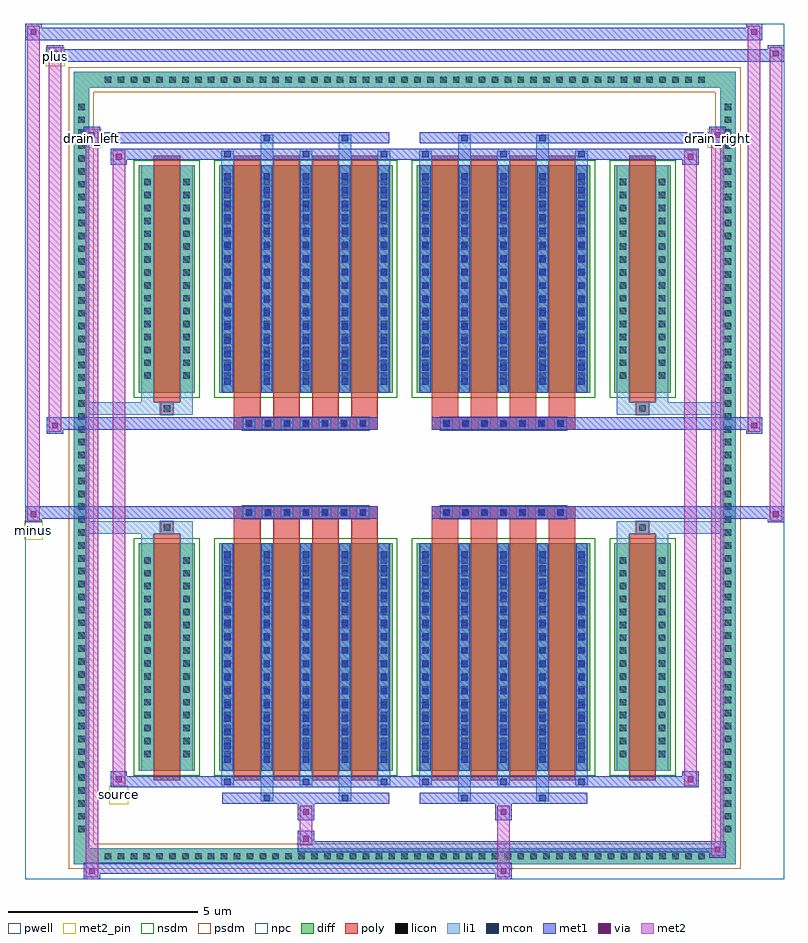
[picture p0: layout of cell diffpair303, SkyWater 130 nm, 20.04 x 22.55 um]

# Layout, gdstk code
import gdstk
lib = gdstk.Library(unit=1e-6, precision=5e-09)
def R(c, l, rs):  # rectangles x0, y0, x1, y1
    for r in rs: c.add(gdstk.rectangle(r[:2], r[2:], *l))
def A(c, l, x, y, w, h, nx, ny, dx, dy):  # array of equal rectangles
    R(c, l, [(x+i*dx, y+j*dy, x+i*dx+w, y+j*dy+h) for i in range(nx) for j in range(ny)])
def P(c, l, *ps):  # polygons
    for p in ps: c.add(gdstk.Polygon(p, *l))
pwell = (64, 44)
diff = (65, 20)
poly = (66, 20)
licon = (66, 44)
li1 = (67, 20)
mcon = (67, 44)
met1 = (68, 20)
via = (68, 44)
met2_pin = (69, 16)
met2 = (69, 20)
nsdm = (93, 44)
psdm = (94, 20)
npc = (95, 20)

diffpair303 = lib.new_cell('diffpair303')
R(diffpair303, pwell, [(-10,-10.84,10,11.71), (-7.32,-9.03,-0.01,-0.805), (0.01,-9.03,7.32,-0.805), (-7.32,0.805,-0.01,9.03), (0.01,0.805,7.32,9.03)])
A(diffpair303, diff, -8.025, -10.44, 0.41, 0.41, 47, 2, 0.34, 20.47)
A(diffpair303, diff, -8.73, -9.725, 0.41, 0.41, 1, 57, 0, 0.34)
A(diffpair303, diff, 8.32, -9.725, 0.41, 0.41, 1, 57, 0, 0.34)
R(diffpair303, diff, [(-8.025,-10.44,8.025,-10.03), (-8.73,-9.725,-8.32,9.725), (8.32,-9.725,8.73,9.725), (-7.01,-7.985,-5.53,-1.985), (-4.89,-7.985,-0.32,-1.985), (0.32,-7.985,4.89,-1.985), (5.53,-7.985,7.01,-1.985), (-7.01,1.985,-5.53,7.985), (-4.89,1.985,-0.32,7.985), (0.32,1.985,4.89,7.985), (5.53,1.985,7.01,7.985), (-8.025,10.03,8.025,10.44)])
P(diffpair303, diff, [(8.73,10.44),(-8.73,10.44),(-8.73,-10.03),(-8.32,-10.03),(-8.32,10.03),(8.32,10.03),(8.32,-10.03),(-8.32,-10.03),(-8.73,-10.03),(-8.73,-10.44),(8.73,-10.44)])
A(diffpair303, poly, -4.5, -8.235, 0.7, 6.5, 4, 2, 1.03, 9.97)
A(diffpair303, poly, 0.71, -8.235, 0.7, 6.5, 4, 2, 1.03, 9.97)
A(diffpair303, poly, -4.5, -1.735, 0.7, 0.4, 4, 2, 1.03, 3.07)
A(diffpair303, poly, 0.71, -1.735, 0.7, 0.4, 4, 2, 1.03, 3.07)
A(diffpair303, poly, -4.27, -1.335, 0.33, 0.33, 7, 2, 0.5, 2.34)
A(diffpair303, poly, 0.94, -1.335, 0.33, 0.33, 7, 2, 0.5, 2.34)
R(diffpair303, poly, [(-6.62,-8.235,-5.92,-1.735), (5.92,-8.235,6.62,-1.735), (-6.435,-1.735,-6.105,-1.405), (-6.435,-1.735,-6.105,-1.405), (6.105,-1.735,6.435,-1.405), (6.105,-1.735,6.435,-1.405), (-4.5,-1.335,-0.71,-1.005), (0.71,-1.335,4.5,-1.005), (-4.5,1.005,-0.71,1.335), (0.71,1.005,4.5,1.335), (-6.435,1.405,-6.105,1.735), (-6.435,1.405,-6.105,1.735), (6.105,1.405,6.435,1.735), (6.105,1.405,6.435,1.735), (-6.62,1.735,-5.92,8.235), (5.92,1.735,6.62,8.235)])
A(diffpair303, licon, -7.905, -10.32, 0.17, 0.17, 47, 2, 0.34, 20.47)
A(diffpair303, licon, -8.61, -9.605, 0.17, 0.17, 1, 57, 0, 0.34)
A(diffpair303, licon, 8.44, -9.605, 0.17, 0.17, 1, 57, 0, 0.34)
A(diffpair303, licon, -6.87, -7.62, 0.17, 0.17, 1, 16, 0, 0.34)
A(diffpair303, licon, -5.84, -7.62, 0.17, 0.17, 1, 16, 0, 0.34)
A(diffpair303, licon, -4.75, -7.62, 0.17, 0.17, 5, 16, 1.03, 0.34)
A(diffpair303, licon, 0.46, -7.62, 0.17, 0.17, 5, 16, 1.03, 0.34)
A(diffpair303, licon, 5.67, -7.62, 0.17, 0.17, 1, 16, 0, 0.34)
A(diffpair303, licon, 6.7, -7.62, 0.17, 0.17, 1, 16, 0, 0.34)
A(diffpair303, licon, -4.19, -1.255, 0.17, 0.17, 7, 2, 0.5, 2.34)
A(diffpair303, licon, 1.02, -1.255, 0.17, 0.17, 7, 2, 0.5, 2.34)
A(diffpair303, licon, -6.87, 2.35, 0.17, 0.17, 1, 16, 0, 0.34)
A(diffpair303, licon, -5.84, 2.35, 0.17, 0.17, 1, 16, 0, 0.34)
A(diffpair303, licon, -4.75, 2.35, 0.17, 0.17, 5, 16, 1.03, 0.34)
A(diffpair303, licon, 0.46, 2.35, 0.17, 0.17, 5, 16, 1.03, 0.34)
A(diffpair303, licon, 5.67, 2.35, 0.17, 0.17, 1, 16, 0, 0.34)
A(diffpair303, licon, 6.7, 2.35, 0.17, 0.17, 1, 16, 0, 0.34)
R(diffpair303, licon, [(-6.355,-1.655,-6.185,-1.485), (6.185,-1.655,6.355,-1.485), (-6.355,1.485,-6.185,1.655), (6.185,1.485,6.355,1.655)])
A(diffpair303, li1, -7.985, -10.4, 0.33, 0.33, 47, 2, 0.34, 20.47)
A(diffpair303, li1, -8.69, -9.685, 0.33, 0.33, 1, 57, 0, 0.34)
A(diffpair303, li1, 8.36, -9.685, 0.33, 0.33, 1, 57, 0, 0.34)
A(diffpair303, li1, -4.83, -8.36, 0.33, 0.375, 3, 2, 2.06, 16.345)
A(diffpair303, li1, -4.75, -8.36, 0.17, 0.17, 3, 2, 2.06, 16.55)
A(diffpair303, li1, 0.38, -8.36, 0.33, 0.375, 3, 2, 2.06, 16.345)
A(diffpair303, li1, 0.46, -8.36, 0.17, 0.17, 3, 2, 2.06, 16.55)
A(diffpair303, li1, -4.83, -7.985, 0.33, 6, 5, 2, 1.03, 9.97)
A(diffpair303, li1, 0.38, -7.985, 0.33, 6, 5, 2, 1.03, 9.97)
A(diffpair303, li1, -4.75, -7.77, 0.17, 0.17, 5, 16, 1.03, 0.36)
A(diffpair303, li1, -4.75, -7.77, 0.17, 5.57, 5, 2, 1.03, 9.97)
A(diffpair303, li1, 0.46, -7.77, 0.17, 0.17, 5, 16, 1.03, 0.36)
A(diffpair303, li1, 0.46, -7.77, 0.17, 5.57, 5, 2, 1.03, 9.97)
A(diffpair303, li1, -6.95, -7.7, 0.33, 0.33, 1, 16, 0, 0.34)
A(diffpair303, li1, -5.92, -7.7, 0.33, 0.33, 1, 16, 0, 0.34)
A(diffpair303, li1, -4.83, -7.7, 0.33, 0.33, 5, 16, 1.03, 0.34)
A(diffpair303, li1, 0.38, -7.7, 0.33, 0.33, 5, 16, 1.03, 0.34)
A(diffpair303, li1, 5.59, -7.7, 0.33, 0.33, 1, 16, 0, 0.34)
A(diffpair303, li1, 6.62, -7.7, 0.33, 0.33, 1, 16, 0, 0.34)
A(diffpair303, li1, -4.27, -1.335, 0.33, 0.33, 7, 2, 0.5, 2.34)
A(diffpair303, li1, 0.94, -1.335, 0.33, 0.33, 7, 2, 0.5, 2.34)
A(diffpair303, li1, -4.75, 2.2, 0.17, 0.17, 5, 16, 1.03, 0.36)
A(diffpair303, li1, 0.46, 2.2, 0.17, 0.17, 5, 16, 1.03, 0.36)
A(diffpair303, li1, -6.95, 2.27, 0.33, 0.33, 1, 16, 0, 0.34)
A(diffpair303, li1, -5.92, 2.27, 0.33, 0.33, 1, 16, 0, 0.34)
A(diffpair303, li1, -4.83, 2.27, 0.33, 0.33, 5, 16, 1.03, 0.34)
A(diffpair303, li1, 0.38, 2.27, 0.33, 0.33, 5, 16, 1.03, 0.34)
A(diffpair303, li1, 5.59, 2.27, 0.33, 0.33, 1, 16, 0, 0.34)
A(diffpair303, li1, 6.62, 2.27, 0.33, 0.33, 1, 16, 0, 0.34)
R(diffpair303, li1, [(-8.73,-10.44,-8.32,-10.03), (-8.73,-10.44,-8.32,-10.03), (-8.32,-10.44,8.32,-10.03), (8.32,-10.44,8.73,-10.03), (8.32,-10.44,8.73,-10.03), (-8.73,-10.03,-8.32,10.03), (8.32,-10.03,8.73,10.03), (-3.8,-8.79,-3.47,-7.985), (-3.72,-8.79,-3.55,-8.62), (-1.74,-8.79,-1.41,-7.985), (-1.66,-8.79,-1.49,-8.62), (1.41,-8.79,1.74,-7.985), (1.49,-8.79,1.66,-8.62), (3.47,-8.79,3.8,-7.985), (3.55,-8.79,3.72,-8.62), (-6.95,-7.985,-6.62,-1.985), (-5.92,-7.985,-5.59,-1.985), (5.59,-7.985,5.92,-1.985), (6.62,-7.985,6.95,-1.985), (-6.95,-1.985,-6.62,-1.405), (-5.92,-1.985,-5.59,-1.405), (5.59,-1.985,5.92,-1.405), (6.62,-1.985,6.95,-1.405), (-8.73,-1.735,-6.435,-1.405), (-6.95,-1.735,-6.435,-1.405), (-6.435,-1.735,-6.105,-1.405), (-6.105,-1.735,-5.59,-1.405), (5.59,-1.735,6.105,-1.405), (6.105,-1.735,6.435,-1.405), (6.105,-1.735,8.73,-1.405), (6.435,-1.735,6.95,-1.405), (-8.73,1.405,-6.435,1.735), (-6.95,1.405,-6.435,1.735), (-6.95,1.405,-6.62,1.985), (-6.435,1.405,-6.105,1.735), (-6.105,1.405,-5.59,1.735), (-5.92,1.405,-5.59,1.985), (5.59,1.405,6.105,1.735), (5.59,1.405,5.92,1.985), (6.105,1.405,6.435,1.735), (6.105,1.405,8.73,1.735), (6.435,1.405,6.95,1.735), (6.62,1.405,6.95,1.985), (-6.95,1.985,-6.62,7.985), (-5.92,1.985,-5.59,7.985), (5.59,1.985,5.92,7.985), (6.62,1.985,6.95,7.985), (-3.8,7.985,-3.47,8.79), (-1.74,7.985,-1.41,8.79), (1.41,7.985,1.74,8.79), (3.47,7.985,3.8,8.79), (-3.72,8.62,-3.55,8.79), (-1.66,8.62,-1.49,8.79), (1.49,8.62,1.66,8.79), (3.55,8.62,3.72,8.79), (-8.73,10.03,-8.32,10.44), (-8.73,10.03,-8.32,10.44), (-8.32,10.03,8.32,10.44), (8.32,10.03,8.73,10.44), (8.32,10.03,8.73,10.44)])
A(diffpair303, mcon, -4.75, -8.36, 0.17, 0.17, 3, 2, 2.06, 16.55)
A(diffpair303, mcon, 0.46, -8.36, 0.17, 0.17, 3, 2, 2.06, 16.55)
A(diffpair303, mcon, -4.75, -7.77, 0.17, 0.17, 5, 16, 1.03, 0.36)
A(diffpair303, mcon, 0.46, -7.77, 0.17, 0.17, 5, 16, 1.03, 0.36)
A(diffpair303, mcon, -4.19, -1.255, 0.17, 0.17, 7, 2, 0.5, 2.34)
A(diffpair303, mcon, 1.02, -1.255, 0.17, 0.17, 7, 2, 0.5, 2.34)
A(diffpair303, mcon, -4.75, 2.2, 0.17, 0.17, 5, 16, 1.03, 0.36)
A(diffpair303, mcon, 0.46, 2.2, 0.17, 0.17, 5, 16, 1.03, 0.36)
R(diffpair303, mcon, [(-3.72,-8.79,-3.55,-8.62), (-1.66,-8.79,-1.49,-8.62), (1.49,-8.79,1.66,-8.62), (3.55,-8.79,3.72,-8.62), (-3.72,8.62,-3.55,8.79), (-1.66,8.62,-1.49,8.79), (1.49,8.62,1.66,8.79), (3.55,8.62,3.72,8.79)])
A(diffpair303, met1, -4.81, -8.42, 0.29, 0.29, 3, 2, 2.06, 16.55)
A(diffpair303, met1, 0.4, -8.42, 0.29, 0.29, 3, 2, 2.06, 16.55)
A(diffpair303, met1, -4.81, -7.985, 0.29, 6, 5, 2, 1.03, 9.97)
A(diffpair303, met1, 0.4, -7.985, 0.29, 6, 5, 2, 1.03, 9.97)
A(diffpair303, met1, -4.81, -7.83, 0.29, 0.29, 5, 16, 1.03, 0.36)
A(diffpair303, met1, 0.4, -7.83, 0.29, 0.29, 5, 16, 1.03, 0.36)
A(diffpair303, met1, -4.25, -1.315, 0.29, 0.29, 7, 2, 0.5, 2.34)
A(diffpair303, met1, 0.96, -1.315, 0.29, 0.29, 7, 2, 0.5, 2.34)
A(diffpair303, met1, -4.81, 2.14, 0.29, 0.29, 5, 16, 1.03, 0.36)
A(diffpair303, met1, 0.4, 2.14, 0.29, 0.29, 5, 16, 1.03, 0.36)
R(diffpair303, met1, [(-8.46,-10.84,-8.03,-10.41), (2.39,-10.84,2.82,-10.41), (-8.46,-10.7,2.82,-10.41), (8.03,-10.27,8.46,-9.84), (-2.82,-10.13,8.46,-9.84), (-2.82,-9.99,-2.39,-9.56), (-2.82,-9.28,-2.39,-8.85), (2.39,-9.28,2.82,-8.85), (-4.81,-8.85,-0.4,-8.56), (-3.78,-8.85,-3.49,-8.56), (-1.72,-8.85,-1.43,-8.56), (0.4,-8.85,4.81,-8.56), (1.43,-8.85,1.72,-8.56), (3.49,-8.85,3.78,-8.56), (-7.75,-8.42,-7.32,-7.99), (-7.75,-8.42,-4.81,-8.13), (-4.81,-8.42,-0.4,-8.13), (-0.4,-8.42,0.4,-8.13), (0.4,-8.42,4.81,-8.13), (4.81,-8.42,7.75,-8.13), (7.32,-8.42,7.75,-7.99), (-10,-1.435,-9.57,-1.005), (9.57,-1.435,10,-1.005), (-10,-1.335,-0.71,-1.005), (-4.5,-1.335,-0.71,-1.005), (0.71,-1.335,4.5,-1.005), (0.71,-1.335,10,-1.005), (-9.43,0.905,-9,1.335), (9,0.905,9.43,1.335), (-9.43,1.005,-4.5,1.335), (-4.5,1.005,-0.71,1.335), (0.71,1.005,4.5,1.335), (4.5,1.005,9.43,1.335), (-7.75,7.99,-7.32,8.42), (7.32,7.99,7.75,8.42), (-7.75,8.13,-4.81,8.42), (-4.81,8.13,-0.4,8.42), (-0.4,8.13,0.4,8.42), (0.4,8.13,4.81,8.42), (4.81,8.13,7.75,8.42), (-8.46,8.56,-8.03,8.99), (-8.46,8.56,-4.81,8.85), (-4.81,8.56,-0.4,8.85), (-3.78,8.56,-3.49,8.85), (-1.72,8.56,-1.43,8.85), (0.4,8.56,4.81,8.85), (1.43,8.56,1.72,8.85), (3.49,8.56,3.78,8.85), (4.81,8.56,8.46,8.85), (8.03,8.56,8.46,8.99), (-9.43,10.71,-9,11.14), (-9.43,10.71,-7.32,11.04), (-7.32,10.71,7.32,11.04), (7.32,10.71,10,11.04), (9.57,10.71,10,11.14), (-10,11.28,-9.57,11.71), (-10,11.28,-7.32,11.61), (-7.32,11.28,7.32,11.61), (7.32,11.28,9.43,11.61), (9,11.28,9.43,11.71)])
R(diffpair303, via, [(-8.32,-10.7,-8.17,-10.55), (2.53,-10.7,2.68,-10.55), (8.17,-10.13,8.32,-9.98), (-2.68,-9.85,-2.53,-9.7), (-2.68,-9.14,-2.53,-8.99), (2.53,-9.14,2.68,-8.99), (-7.61,-8.28,-7.46,-8.13), (7.46,-8.28,7.61,-8.13), (-9.86,-1.295,-9.71,-1.145), (9.71,-1.295,9.86,-1.145), (-9.29,1.045,-9.14,1.195), (9.14,1.045,9.29,1.195), (-7.61,8.13,-7.46,8.28), (7.46,8.13,7.61,8.28), (-8.32,8.7,-8.17,8.85), (8.17,8.7,8.32,8.85), (-9.29,10.85,-9.14,11), (9.71,10.85,9.86,11), (-9.86,11.42,-9.71,11.57), (9.14,11.42,9.29,11.57)])
R(diffpair303, met2_pin, [(-7.785,-8.87,-7.285,-8.37), (-10.035,-1.885,-9.535,-1.385), (-8.495,8.44,-7.995,8.94), (7.995,8.44,8.495,8.94), (-9.465,10.59,-8.965,11.09)])
R(diffpair303, met2, [(-8.41,-10.79,-8.08,-10.46), (-8.41,-10.79,-8.08,8.94), (2.44,-10.79,2.77,-10.46), (2.44,-10.46,2.77,-9.23), (8.08,-10.22,8.41,-9.89), (8.08,-10.22,8.41,8.94), (-2.77,-9.94,-2.44,-9.61), (-2.77,-9.61,-2.44,-9.23), (-2.77,-9.23,-2.44,-8.9), (2.44,-9.23,2.77,-8.9), (-7.7,-8.37,-7.37,-8.04), (-7.7,-8.37,-7.37,8.37), (7.37,-8.37,7.7,-8.04), (7.37,-8.37,7.7,8.37), (-9.95,-1.385,-9.62,-1.055), (-9.95,-1.385,-9.62,11.66), (9.62,-1.385,9.95,-1.055), (9.62,-1.385,9.95,11.09), (-9.38,0.955,-9.05,1.285), (-9.38,0.955,-9.05,11.09), (9.05,0.955,9.38,1.285), (9.05,0.955,9.38,11.66), (-7.7,8.04,-7.37,8.37), (7.37,8.04,7.7,8.37), (-8.41,8.61,-8.08,8.94), (8.08,8.61,8.41,8.94), (-9.38,10.76,-9.05,11.09), (9.62,10.76,9.95,11.09), (-9.95,11.33,-9.62,11.66), (9.05,11.33,9.38,11.66)])
P(diffpair303, met2, [(9.95,-1.385),(9.95,-1.385),(9.95,-1.055),(9.95,-1.055)],
  [(9.95,10.76),(9.95,10.76),(9.95,11.09),(9.95,11.09)],
  [(-9.62,-1.385),(-9.62,-1.385),(-9.62,-1.055),(-9.62,-1.055)],
  [(-9.62,11.33),(-9.62,11.33),(-9.62,11.66),(-9.62,11.66)],
  [(9.38,0.955),(9.38,0.955),(9.38,1.285),(9.38,1.285)],
  [(9.38,11.33),(9.38,11.33),(9.38,11.66),(9.38,11.66)],
  [(-9.05,0.955),(-9.05,0.955),(-9.05,1.285),(-9.05,1.285)],
  [(-9.05,10.76),(-9.05,10.76),(-9.05,11.09),(-9.05,11.09)],
  [(-8.08,-10.79),(-8.08,-10.79),(-8.08,-10.46),(-8.08,-10.46)],
  [(-8.08,8.61),(-8.08,8.61),(-8.08,8.94),(-8.08,8.94)],
  [(8.41,-10.22),(8.41,-10.22),(8.41,-9.89),(8.41,-9.89)],
  [(8.41,8.61),(8.41,8.61),(8.41,8.94),(8.41,8.94)],
  [(-7.37,-8.37),(-7.37,-8.37),(-7.37,-8.04),(-7.37,-8.04)],
  [(-7.37,8.04),(-7.37,8.04),(-7.37,8.37),(-7.37,8.37)],
  [(7.7,-8.37),(7.7,-8.37),(7.7,-8.04),(7.7,-8.04)],
  [(7.7,8.04),(7.7,8.04),(7.7,8.37),(7.7,8.37)])
R(diffpair303, nsdm, [(-7.14,-8.115,-5.4,-1.855), (-5.02,-8.115,-0.19,-1.855), (0.19,-8.115,5.02,-1.855), (5.4,-8.115,7.14,-1.855), (-7.14,1.855,-5.4,8.115), (-5.02,1.855,-0.19,8.115), (0.19,1.855,5.02,8.115), (5.4,1.855,7.14,8.115)])
P(diffpair303, psdm, [(8.86,10.57),(-8.86,10.57),(-8.86,-9.9),(-8.19,-9.9),(-8.19,9.9),(8.19,9.9),(8.19,-9.9),(-8.19,-9.9),(-8.86,-9.9),(-8.86,-10.57),(8.86,-10.57)])
A(diffpair303, npc, -4.29, -1.355, 0.37, 0.37, 7, 2, 0.5, 2.34)
A(diffpair303, npc, 0.92, -1.355, 0.37, 0.37, 7, 2, 0.5, 2.34)
R(diffpair303, npc, [(-6.455,-1.755,-6.085,-1.385), (6.085,-1.755,6.455,-1.385), (-4.29,-1.355,-3.42,-0.985), (-4.29,-1.355,-3.42,-0.985), (-3.79,-1.355,-2.92,-0.985), (-3.79,-1.355,-2.92,-0.985), (-3.29,-1.355,-2.42,-0.985), (-3.29,-1.355,-2.42,-0.985), (-2.79,-1.355,-1.92,-0.985), (-2.79,-1.355,-1.92,-0.985), (-2.29,-1.355,-1.42,-0.985), (-2.29,-1.355,-1.42,-0.985), (-1.79,-1.355,-0.92,-0.985), (-1.79,-1.355,-0.92,-0.985), (0.92,-1.355,1.79,-0.985), (0.92,-1.355,1.79,-0.985), (1.42,-1.355,2.29,-0.985), (1.42,-1.355,2.29,-0.985), (1.92,-1.355,2.79,-0.985), (1.92,-1.355,2.79,-0.985), (2.42,-1.355,3.29,-0.985), (2.42,-1.355,3.29,-0.985), (2.92,-1.355,3.79,-0.985), (2.92,-1.355,3.79,-0.985), (3.42,-1.355,4.29,-0.985), (3.42,-1.355,4.29,-0.985), (-4.29,0.985,-3.42,1.355), (-4.29,0.985,-3.42,1.355), (-3.79,0.985,-2.92,1.355), (-3.79,0.985,-2.92,1.355), (-3.29,0.985,-2.42,1.355), (-3.29,0.985,-2.42,1.355), (-2.79,0.985,-1.92,1.355), (-2.79,0.985,-1.92,1.355), (-2.29,0.985,-1.42,1.355), (-2.29,0.985,-1.42,1.355), (-1.79,0.985,-0.92,1.355), (-1.79,0.985,-0.92,1.355), (0.92,0.985,1.79,1.355), (0.92,0.985,1.79,1.355), (1.42,0.985,2.29,1.355), (1.42,0.985,2.29,1.355), (1.92,0.985,2.79,1.355), (1.92,0.985,2.79,1.355), (2.42,0.985,3.29,1.355), (2.42,0.985,3.29,1.355), (2.92,0.985,3.79,1.355), (2.92,0.985,3.79,1.355), (3.42,0.985,4.29,1.355), (3.42,0.985,4.29,1.355), (-6.455,1.385,-6.085,1.755), (6.085,1.385,6.455,1.755)])
diffpair303.add(gdstk.Label('minus', (-9.785,-1.635), layer=69, texttype=5))
diffpair303.add(gdstk.Label('drain_right', (8.245,8.69), layer=69, texttype=5))
diffpair303.add(gdstk.Label('drain_left', (-8.245,8.69), layer=69, texttype=5))
diffpair303.add(gdstk.Label('source', (-7.535,-8.62), layer=69, texttype=5))
diffpair303.add(gdstk.Label('plus', (-9.215,10.84), layer=69, texttype=5))

lib.write_gds('diffpair303.gds')
